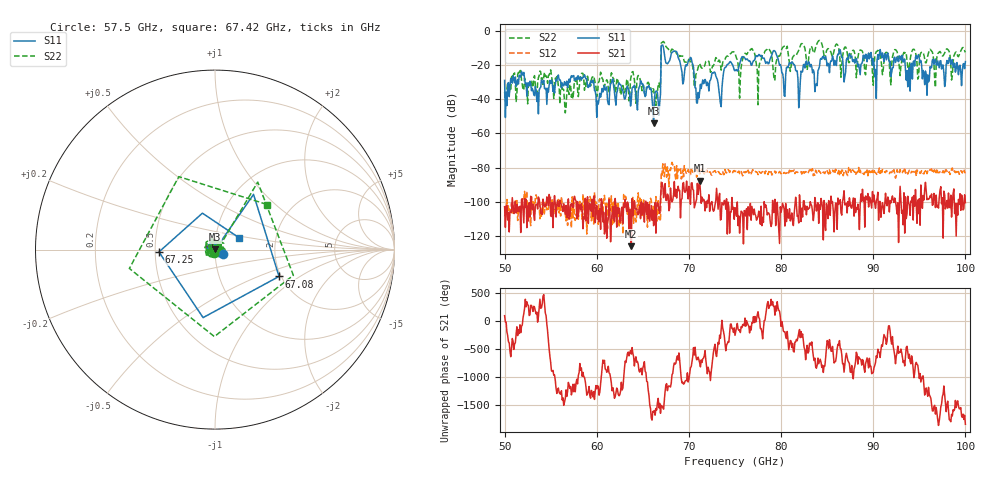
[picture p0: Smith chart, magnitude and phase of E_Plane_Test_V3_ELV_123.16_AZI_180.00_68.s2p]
! 11/26/2026 4:45:08 PM
! C:\ANRITSUVNA\TEMP\TEMP.S2P
! CHANNEL.1
! TR.MEASUREMENT
! RAW.DATA
# HZ S RI R 50.0
! FREQ.HZ  S11RE  S11IM  S21RE  S21IM  S12RE  S12IM  S22RE  S22IM
!; PortSelection: Port_12
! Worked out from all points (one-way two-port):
!   601 points, 50 GHz to 100 GHz, reference 50 ohm
!   highest |S21| = -87.59 dB at 71.17 GHz (marker M1); lowest = -126.0 dB at 63.75 GHz (marker M2)
!   lowest |S11| = -54.0 dB at 66.17 GHz (marker M3), VSWR 1.00, Z = 50.1 + j0.145 ohm
!   |S11| at or under -10 dB: start of sweep to 67 GHz; 67.25 GHz to end of sweep
!   |S22| runs from -48.0 to -5.6 dB; largest |S21 - S12| = 0.00016
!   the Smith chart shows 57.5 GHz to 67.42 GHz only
!   S11 on the Smith chart (normalised r, x): 57.5 GHz: 1.09, -0.05; 67.08 GHz: 1.95, -0.69; 67.25 GHz: 0.52, -0.02; 67.42 GHz: 1.29, +0.18
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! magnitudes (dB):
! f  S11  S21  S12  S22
! 50 GHz  -29.0  -102.9  -108.6  -35.8
! 51.67 GHz  -26.3  -102.6  -103.3  -23.3
! 57.5 GHz  -26.1  -98.3  -100.3  -34.6
! 58.42 GHz  -27.1  -104.6  -110.2  -24.7
! 60.17 GHz  -42.8  -105.2  -113.1  -30.4
! 63.75 GHz  -40.5  -126.0  -111.7  -26.2
! 66.17 GHz  -54.0  -114.0  -102.2  -34.0
! 66.67 GHz  -41.5  -101.9  -98.6  -31.6
! 67.08 GHz  -8.3  -88.8  -84.4  -6.8
! 67.25 GHz  -10.1  -97.6  -82.9  -6.2
! 67.42 GHz  -16.6  -89.4  -77.8  -8.3
! 70.17 GHz  -15.5  -101.5  -84.1  -18.5
! 71.17 GHz  -35.9  -87.6  -83.8  -19.1
! 75 GHz  -23.3  -103.5  -82.3  -13.0
! 79.25 GHz  -11.5  -106.0  -83.2  -29.0
! 80.25 GHz  -27.9  -102.5  -83.3  -9.3
! 83.42 GHz  -24.5  -106.3  -80.7  -10.8
! 91.67 GHz  -16.7  -99.1  -83.0  -15.2
! 93.75 GHz  -32.7  -96.8  -83.8  -21.3
! 94.83 GHz  -15.0  -99.0  -82.2  -28.2
! 95.83 GHz  -37.7  -98.8  -83.6  -16.6
! 100 GHz  -17.9  -100.6  -83.4  -12.6
